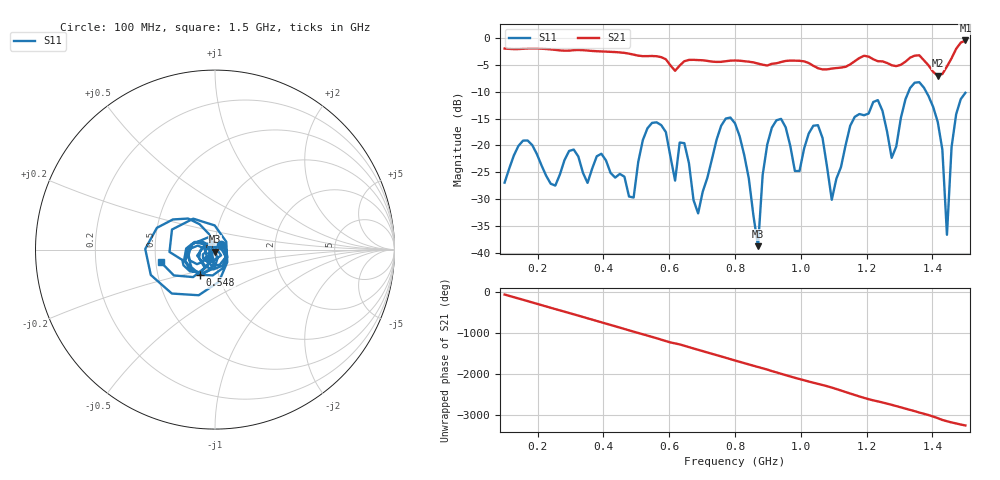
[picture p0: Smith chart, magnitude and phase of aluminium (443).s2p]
! NanoVNA-App
! Date: 2025-09-25 14:58:44
! Start: 100MHz Stop: 1,5GHz Points: 101
! S-Parameter data: F S11 S21 S12 S22
# Hz S RI R 50
!  Frequency  S11_Real  S11_Imag  S21_Real  S21_Imag  S12_Real  S12_Imag  S22_Real  S22_Imag
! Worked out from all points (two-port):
!   101 points, 100 MHz to 1.5 GHz, reference 50 ohm
!   highest |S21| = -0.41 dB at 1.5 GHz (marker M1); lowest = -7.0 dB at 1.416 GHz (marker M2)
!   |S21| within 3 dB of the highest: start of sweep to 566.5 MHz; 1.461 GHz to end of sweep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
!   lowest |S11| = -38.8 dB at 870 MHz (marker M3), VSWR 1.02, Z = 50.2 - j1.14 ohm
!   |S11| at or under -10 dB: start of sweep to 1.327 GHz; 1.381 GHz to end of sweep
!   S12 and S22 are empty: the file has one direction only
!   S11 on the Smith chart (normalised r, x): 100 MHz: 1.07, +0.06; 548 MHz: 0.82, -0.24; 1.5 GHz: 0.53, -0.08
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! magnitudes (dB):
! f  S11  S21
! 100 MHz  -27.0  -1.9
! 156 MHz  -19.1  -2.0
! 338 MHz  -25.1  -2.2
! 492 MHz  -29.7  -3.1
! 548 MHz  -15.8  -3.3
! 576 MHz  -16.2  -3.5
! 618 MHz  -26.6  -6.1
! 646 MHz  -19.6  -4.3
! 688 MHz  -32.7  -4.1
! 800 MHz  -15.9  -4.2
! 870 MHz  -38.8  -4.7
! 912 MHz  -16.7  -4.8
! 996 MHz  -24.8  -4.2
! 1.038 GHz  -16.3  -5.1
! 1.094 GHz  -30.2  -5.7
! 1.22 GHz  -11.9  -3.9
! 1.276 GHz  -22.3  -5.0
! 1.346 GHz  -8.3  -3.2
! 1.416 GHz  -15.6  -7.0
! 1.444 GHz  -36.7  -5.3
! 1.458 GHz  -20.3  -3.7
! 1.5 GHz  -10.2  -0.4
